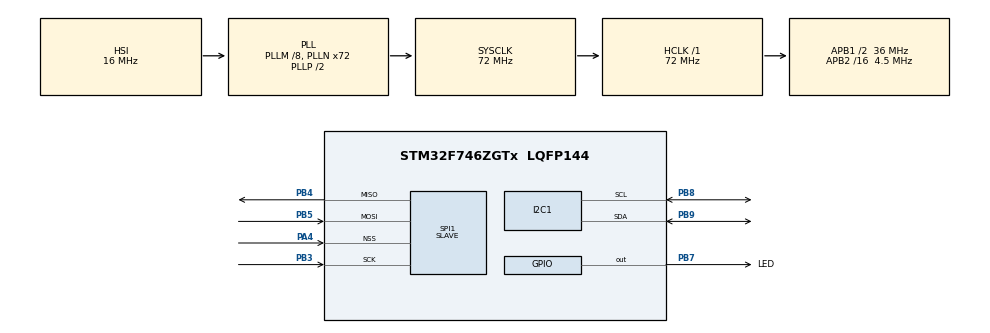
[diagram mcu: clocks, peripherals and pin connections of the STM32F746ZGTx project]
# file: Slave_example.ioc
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I2C1.OwnAddress=6
I2C1.Timing=0x00808CD2
Mcu.Family=STM32F7
Mcu.Name=STM32F746ZGTx
Mcu.Package=LQFP144
NVIC.PriorityGroup=NVIC_PRIORITYGROUP_4
NVIC.SPI1_IRQn=true\:0\:0\:false\:false\:true\:true\:true\:true
PA13.Mode=Serial_Wire
PA13.Signal=SYS_JTMS-SWDIO
PA14.Mode=Serial_Wire
PA14.Signal=SYS_JTCK-SWCLK
PA4.Mode=NSS_Signal_Hard_Input
PA4.Signal=SPI1_NSS
PB3.Mode=Full_Duplex_Slave
PB3.Signal=SPI1_SCK
PB4.Mode=Full_Duplex_Slave
PB4.Signal=SPI1_MISO
PB5.Mode=Full_Duplex_Slave
PB5.Signal=SPI1_MOSI
PB7.GPIO_Label=LED
PB7.Signal=GPIO_Output
PB8.Mode=I2C
PB8.Signal=I2C1_SCL
PB9.Mode=I2C
PB9.Signal=I2C1_SDA
PH0/OSC_IN.Mode=HSE-External-Oscillator
PH0/OSC_IN.Signal=RCC_OSC_IN
PH1/OSC_OUT.Mode=HSE-External-Oscillator
PH1/OSC_OUT.Signal=RCC_OSC_OUT
ProjectManager.HeapSize=0x200
ProjectManager.StackSize=0x400
ProjectManager.TargetToolchain=STM32CubeIDE
RCC.AHBFreq_Value=72000000
RCC.APB1CLKDivider=RCC_HCLK_DIV2
RCC.APB1Freq_Value=36000000
RCC.APB1TimFreq_Value=72000000
RCC.APB2CLKDivider=RCC_HCLK_DIV16
RCC.APB2Freq_Value=4500000
RCC.APB2TimFreq_Value=9000000
RCC.CortexFreq_Value=72000000
RCC.HCLKFreq_Value=72000000
RCC.HSE_VALUE=25000000
RCC.HSI_VALUE=16000000
RCC.LSE_VALUE=32768
RCC.PLLM=8
RCC.PLLN=72
RCC.SYSCLKFreq_VALUE=72000000
RCC.SYSCLKSource=RCC_SYSCLKSOURCE_PLLCLK
RCC.USBFreq_Value=72000000
RCC.VCOOutputFreq_Value=144000000
SPI1.DataSize=SPI_DATASIZE_8BIT
SPI1.Direction=SPI_DIRECTION_2LINES
SPI1.Mode=SPI_MODE_SLAVE
SPI1.TIMode=SPI_TIMODE_DISABLE
SPI1.VirtualNSS=VM_NSSHARD
SPI1.VirtualType=VM_SLAVE
board=custom

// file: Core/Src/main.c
/* USER CODE BEGIN Header */
/**
  ******************************************************************************
  * @file           : main.c
  * @brief          : Main program body
  ******************************************************************************
  * @attention
  *
  * Copyright (c) 2023 STMicroelectronics.
  * All rights reserved.
  *
  * This software is licensed under terms that can be found in the LICENSE file
  * in the root directory of this software component.
  * If no LICENSE file comes with this software, it is provided AS-IS.
  *
  ******************************************************************************
  */
/* USER CODE END Header */
#include "main.h"

/* USER CODE BEGIN PTD */
#define buf_size 5

// set 1 to use SPI program try to comunicate via I2C
#define use_spi 1
/* USER CODE END PTD */

I2C_HandleTypeDef hi2c1;

SPI_HandleTypeDef hspi1;

/* USER CODE BEGIN PV */
uint8_t spi_tx_buff[1] = {69};
uint8_t spi_rx_buff[1];
uint32_t spi_counter = 0;

uint8_t i2c_tx_buff[buf_size] = {49, 59, 69, 79, 89};
uint8_t i2c_rx_buff[buf_size];
uint32_t i2c_counter = 0;

/* USER CODE END PV */

void SystemClock_Config(void);
static void MX_GPIO_Init(void);
static void MX_SPI1_Init(void);
static void MX_I2C1_Init(void);

int main(void)
{
  /* USER CODE BEGIN 1 */
	uint32_t spi_counter_prev = spi_rx_buff[0];//spi_counter;
  /* USER CODE END 1 */

  /* MCU Configuration--------------------------------------------------------*/

  /* Reset of all peripherals, Initializes the Flash interface and the Systick. */
  HAL_Init();

  /* Configure the system clock */
  SystemClock_Config();

  /* Initialize all configured peripherals */
  MX_GPIO_Init();
  MX_SPI1_Init();
  MX_I2C1_Init();
  /* USER CODE BEGIN 2 */
//  HAL_SPI_TransmitReceive_IT(&hspi1, buffer_tx, buffer_rx, buf_size);
//  HAL_SPI_Receive_IT(&hspi1, (uint8_t*)spi_rx_buff, sizeof(spi_tx_buff));
//  HAL_SPI_Receive(&hspi1, (uint8_t*)spi_rx_buff, sizeof(spi_tx_buff), 500);
  /* USER CODE END 2 */

  /* Infinite loop */
  /* USER CODE BEGIN WHILE */
  while (1)
  {
	  if(use_spi == 1)
	  {
		  HAL_SPI_Receive(&hspi1, (uint8_t*)spi_rx_buff, sizeof(spi_rx_buff), 500);
//		  HAL_SPI_TransmitReceive(&hspi1, (uint8_t*)spi_tx_buff, (uint8_t*)spi_rx_buff, sizeof(spi_tx_buff), 500);
		  if(spi_counter_prev != spi_counter)
		  {
			  HAL_GPIO_TogglePin(LED_GPIO_Port, LED_GPIO_Port);
			  HAL_SPI_Transmit(&hspi1, (uint8_t*)spi_tx_buff, sizeof(spi_tx_buff), 500);
			  spi_tx_buff[0] += 3;

		  }
		  spi_counter_prev = spi_rx_buff[0];//spi_counter;
	  }
	  else
	  {
		  HAL_I2C_StateTypeDef status = HAL_I2C_Slave_Receive(&hi2c1, i2c_rx_buff, 5, HAL_MAX_DELAY);
		  if(status == HAL_OK)
		  {
			  HAL_I2C_Slave_Transmit(&hi2c1, i2c_tx_buff, 5, HAL_MAX_DELAY);
			  HAL_GPIO_TogglePin(LED_GPIO_Port, LED_GPIO_Port);
		  }

	  }
    /* USER CODE END WHILE */

  }
}

void SystemClock_Config(void)
{
  RCC_OscInitTypeDef RCC_OscInitStruct = {0};
  RCC_ClkInitTypeDef RCC_ClkInitStruct = {0};

  /** Configure the main internal regulator output voltage
  */
  __HAL_RCC_PWR_CLK_ENABLE();
  __HAL_PWR_VOLTAGESCALING_CONFIG(PWR_REGULATOR_VOLTAGE_SCALE3);

  /** Initializes the RCC Oscillators according to the specified parameters
  * in the RCC_OscInitTypeDef structure.
  */
  RCC_OscInitStruct.OscillatorType = RCC_OSCILLATORTYPE_HSI;
  RCC_OscInitStruct.HSIState = RCC_HSI_ON;
  RCC_OscInitStruct.HSICalibrationValue = RCC_HSICALIBRATION_DEFAULT;
  RCC_OscInitStruct.PLL.PLLState = RCC_PLL_ON;
  RCC_OscInitStruct.PLL.PLLSource = RCC_PLLSOURCE_HSI;
  RCC_OscInitStruct.PLL.PLLM = 8;
  RCC_OscInitStruct.PLL.PLLN = 72;
  RCC_OscInitStruct.PLL.PLLP = RCC_PLLP_DIV2;
  RCC_OscInitStruct.PLL.PLLQ = 2;
  if (HAL_RCC_OscConfig(&RCC_OscInitStruct) != HAL_OK)
  {
    Error_Handler();
  }

  /** Initializes the CPU, AHB and APB buses clocks
  */
  RCC_ClkInitStruct.ClockType = RCC_CLOCKTYPE_HCLK|RCC_CLOCKTYPE_SYSCLK
                              |RCC_CLOCKTYPE_PCLK1|RCC_CLOCKTYPE_PCLK2;
  RCC_ClkInitStruct.SYSCLKSource = RCC_SYSCLKSOURCE_PLLCLK;
  RCC_ClkInitStruct.AHBCLKDivider = RCC_SYSCLK_DIV1;
  RCC_ClkInitStruct.APB1CLKDivider = RCC_HCLK_DIV2;
  RCC_ClkInitStruct.APB2CLKDivider = RCC_HCLK_DIV16;

  if (HAL_RCC_ClockConfig(&RCC_ClkInitStruct, FLASH_LATENCY_2) != HAL_OK)
  {
    Error_Handler();
  }
}

static void MX_I2C1_Init(void)
{

  hi2c1.Instance = I2C1;
  hi2c1.Init.Timing = 0x00808CD2;
  hi2c1.Init.OwnAddress1 = 12;
  hi2c1.Init.AddressingMode = I2C_ADDRESSINGMODE_7BIT;
  hi2c1.Init.DualAddressMode = I2C_DUALADDRESS_DISABLE;
  hi2c1.Init.OwnAddress2 = 0;
  hi2c1.Init.OwnAddress2Masks = I2C_OA2_NOMASK;
  hi2c1.Init.GeneralCallMode = I2C_GENERALCALL_DISABLE;
  hi2c1.Init.NoStretchMode = I2C_NOSTRETCH_DISABLE;
  if (HAL_I2C_Init(&hi2c1) != HAL_OK)
  {
    Error_Handler();
  }

  /** Configure Analogue filter
  */
  if (HAL_I2CEx_ConfigAnalogFilter(&hi2c1, I2C_ANALOGFILTER_ENABLE) != HAL_OK)
  {
    Error_Handler();
  }

  /** Configure Digital filter
  */
  if (HAL_I2CEx_ConfigDigitalFilter(&hi2c1, 0) != HAL_OK)
  {
    Error_Handler();
  }

}

static void MX_SPI1_Init(void)
{

  /* SPI1 parameter configuration*/
  hspi1.Instance = SPI1;
  hspi1.Init.Mode = SPI_MODE_SLAVE;
  hspi1.Init.Direction = SPI_DIRECTION_2LINES;
  hspi1.Init.DataSize = SPI_DATASIZE_8BIT;
  hspi1.Init.CLKPolarity = SPI_POLARITY_LOW;
  hspi1.Init.CLKPhase = SPI_PHASE_1EDGE;
  hspi1.Init.NSS = SPI_NSS_HARD_INPUT;
  hspi1.Init.FirstBit = SPI_FIRSTBIT_MSB;
  hspi1.Init.TIMode = SPI_TIMODE_DISABLE;
  hspi1.Init.CRCCalculation = SPI_CRCCALCULATION_DISABLE;
  hspi1.Init.CRCPolynomial = 7;
  hspi1.Init.CRCLength = SPI_CRC_LENGTH_DATASIZE;
  hspi1.Init.NSSPMode = SPI_NSS_PULSE_DISABLE;
  if (HAL_SPI_Init(&hspi1) != HAL_OK)
  {
    Error_Handler();
  }

}

static void MX_GPIO_Init(void)
{
  GPIO_InitTypeDef GPIO_InitStruct = {0};

  /* GPIO Ports Clock Enable */
  __HAL_RCC_GPIOH_CLK_ENABLE();
  __HAL_RCC_GPIOA_CLK_ENABLE();
  __HAL_RCC_GPIOB_CLK_ENABLE();

  /*Configure GPIO pin Output Level */
  HAL_GPIO_WritePin(LED_GPIO_Port, LED_Pin, GPIO_PIN_RESET);

  /*Configure GPIO pin : LED_Pin */
  GPIO_InitStruct.Pin = LED_Pin;
  GPIO_InitStruct.Mode = GPIO_MODE_OUTPUT_PP;
  GPIO_InitStruct.Pull = GPIO_NOPULL;
  GPIO_InitStruct.Speed = GPIO_SPEED_FREQ_LOW;
  HAL_GPIO_Init(LED_GPIO_Port, &GPIO_InitStruct);

}

/* USER CODE BEGIN 4 */
void HAL_SPI_RxCpltCallback(SPI_HandleTypeDef *hspi)
{
	if(hspi->Instance == SPI1)
	{
		spi_counter++;
//		HAL_SPI_Receive_IT(&hspi1, (uint8_t*)spi_rx_buff, sizeof(spi_tx_buff));
//		HAL_SPI_Receive(&hspi1, (uint8_t*)spi_rx_buff, sizeof(spi_tx_buff), 500);
//		spi_tx_buff[0]--;
//		spi_tx_buff[1]++;
//		spi_tx_buff[2]--;
//		spi_tx_buff[3]++;
//		spi_tx_buff[4]--;
	}
}
/* USER CODE END 4 */

void Error_Handler(void)
{
  __disable_irq();
  while (1)
  {
  }
}
